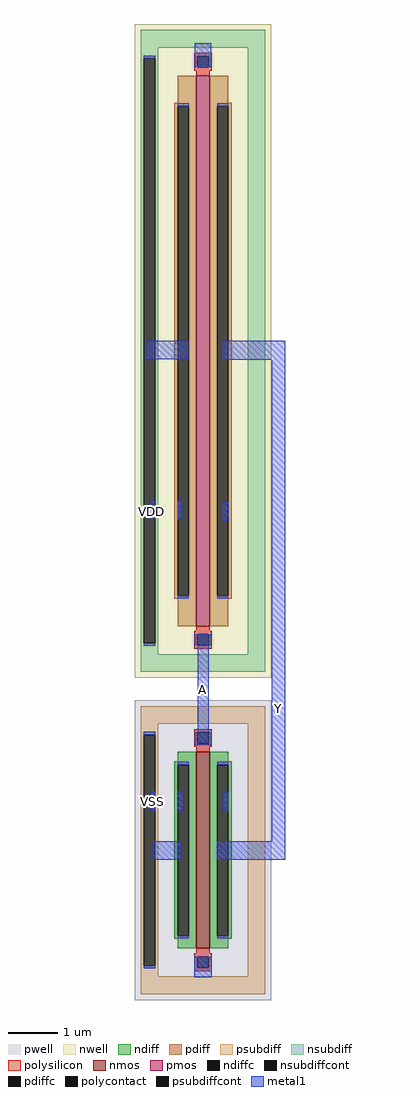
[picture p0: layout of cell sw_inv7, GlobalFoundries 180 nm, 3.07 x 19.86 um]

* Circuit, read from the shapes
.subckt sw_inv7 Y VSS VDD A
XM1 Y A VSS VSS nfet_03v3 w=4u l=0.28u
XM2 Y A VDD VDD pfet_03v3 w=11.2u l=0.28u
.ends

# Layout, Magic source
magic
tech gf180mcuD
magscale 1 10
<< metal1 >>
rect -46 5913 22 6011
rect -246 4725 -72 4801
rect 62 4724 323 4800
rect -231 4072 -205 4149
rect -115 4072 -96 4149
rect 62 4068 93 4145
rect -34 3197 12 3607
rect -33 3163 11 3197
rect -33 3161 22 3163
rect -46 3154 22 3161
rect -226 2888 -208 2965
rect -116 2888 -91 2965
rect 68 2886 91 2963
rect 267 2764 323 4724
rect -217 2688 -101 2764
rect 43 2688 323 2764
rect -48 2211 23 2295
use nfet_03v3_HHLAK9  nfet_03v3_HHLAK9_0
transform 1 0 -12 0 1 2728
box -278 -610 278 610
use pfet_03v3_BT9PMQ  pfet_03v3_BT9PMQ_0
transform 1 0 -12 0 1 4760
box -278 -1330 278 1330
<< labels >>
rlabel metal1 278 3290 310 3322 1 Y
port 2 n
rlabel metal1 -226 2910 -212 2942 1 VSS
port 3 n
rlabel metal1 -231 4090 -213 4122 1 VDD
port 4 n
rlabel metal1 -30 3359 6 3402 1 A
port 5 n
<< end >>

# cell nfet_03v3_HHLAK9: kit device nfet_03v3, w 4 l 0.280 m 1 nf 1 diffcov 90 polycov 100 guard 1 glc 1 grc 0 gtc 0 gbc 0 tbcov 100 rlcov 100 topc 1 botc 1 poverlap 0 doverlap 1 lmin 0.28 wmin 0.22 class mosfet full_metal 0 compatible {nfet_03v3 nfet_05v0 nfet_06v0 nfet_06v0_nvt}

# cell pfet_03v3_BT9PMQ: kit device pfet_03v3, w 11.2 l 0.280 m 1 nf 1 diffcov 90 polycov 100 guard 1 glc 1 grc 0 gtc 0 gbc 0 tbcov 100 rlcov 100 topc 1 botc 1 poverlap 0 doverlap 1 lmin 0.28 wmin 0.22 class mosfet full_metal 0 compatible {pfet_03v3 pfet_05v0 pfet_06v0}
